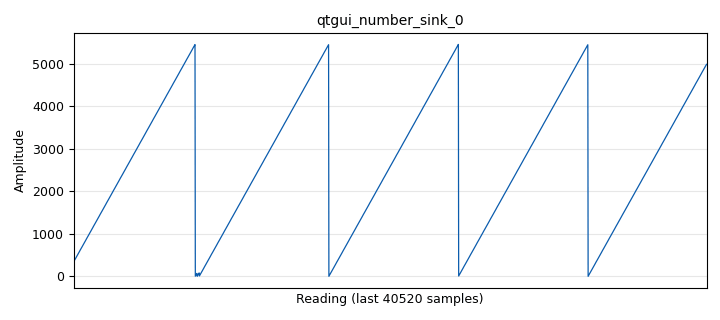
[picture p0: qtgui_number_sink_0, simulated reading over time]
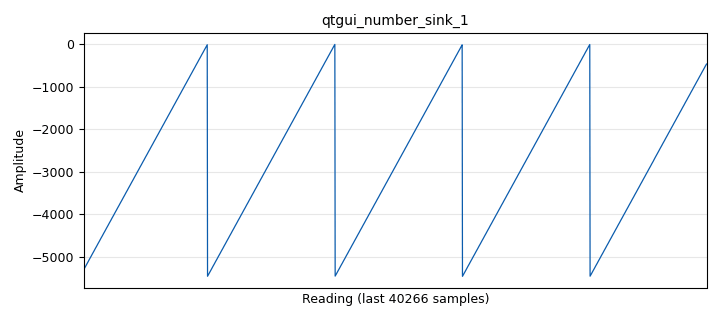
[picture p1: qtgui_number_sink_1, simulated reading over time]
options:
  parameters:
    author: yuri9
    generate_options: qt_gui
    id: Lab_comu_ii_p10
    output_language: python
    title: punto_10
  states: {}

blocks:
- name: samp_rate
  id: variable
  parameters:
    value: '32000'
  states: {}
- name: blocks_vector_source_x_0
  id: blocks_vector_source_x
  parameters:
    repeat: 'True'
    type: float
    vector: (1, 2, -1)
  states: {}
- name: epy_block_0
  id: epy_block
  parameters:
    _source_code: "import numpy as np\nfrom gnuradio import gr\n\nclass blk(gr.sync_block):\n    \n    def __init__(self):\n        # solo argumentos por defecto aquí\n        gr.sync_block.__init__(\n            self,\n            name='Acomulador',  # nombre que aparecerá en GRC\n            in_sig=[np.float32],\n            out_sig=[np.float32]\n        )\n\n    def work(self, input_items, output_items):\n        x = input_items[0]  # Señal de entrada\n        y0 = output_items[0]  # Señal acumulada\n        y0[:] = np.cumsum(x)  # Acumula la señal de entrada\n        \n        return len(y0)  # Devolver la longitud de la señal de salida\n\n"
  states: {}
- name: epy_block_1
  id: epy_block
  parameters:
    _source_code: |
      import numpy as np
      from gnuradio import gr

      class blk(gr.sync_block):
          def __init__(self):
              # Solo argumentos por defecto aquí
              gr.sync_block.__init__(
                  self,
                  name='Diferenciador',  # Nombre que aparecerá en GRC
                  in_sig=[np.float32],
                  out_sig=[np.float32]
              )
              
              # Atributo inicializado fuera de la llamada a __init__
              self.acum_anterior = 0

          def work(self, input_items, output_items):
              x = input_items[0]  # Señal de entrada
              y0 = output_items[0]  # Señal acumulada diferencial

              N = len(x)

              # Cálculo de la diferencia acumulada
              diff = np.cumsum(x) - self.acum_anterior
              self.acum_anterior = np.cumsum(x)[-1]  # Guardar el último valor acumulado

              # Asignar el resultado a la salida
              y0[:] = diff

              return len(x)  # Retorna la longitud de la señal de entrada procesada
  states: {}
- name: qtgui_number_sink_0
  id: qtgui_number_sink
  parameters:
    graph_type: qtgui.NUM_GRAPH_HORIZ
    type: float
  states: {}
- name: qtgui_number_sink_1
  id: qtgui_number_sink
  parameters:
    graph_type: qtgui.NUM_GRAPH_HORIZ
    type: float
  states: {}

connections:
- [blocks_vector_source_x_0, '0', epy_block_0, '0']
- [blocks_vector_source_x_0, '0', epy_block_1, '0']
- [epy_block_0, '0', qtgui_number_sink_0, '0']
- [epy_block_1, '0', qtgui_number_sink_1, '0']

metadata:
  file_format: 1
  grc_version: 3.10.9.2
